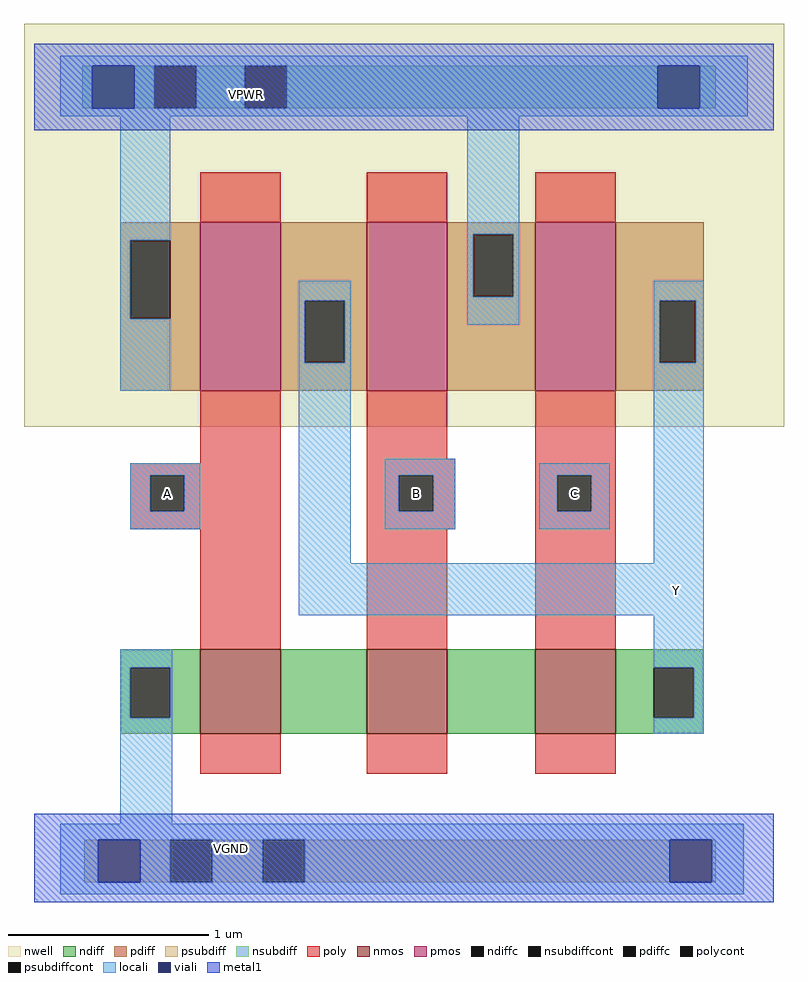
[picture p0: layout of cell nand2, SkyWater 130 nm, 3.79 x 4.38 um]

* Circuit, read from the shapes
.subckt nand2 A VPWR VGND B C Y
XM1 n1 A VGND VGND sky130_fd_pr__nfet_01v8 w=0.42 l=0.4
XM2 n2 B n1 VGND sky130_fd_pr__nfet_01v8 w=0.42 l=0.4
XM3 Y C n2 VGND sky130_fd_pr__nfet_01v8 w=0.42 l=0.4
XM4 Y A VPWR VPWR sky130_fd_pr__pfet_01v8 w=0.84 l=0.4
XM5 VPWR B Y VPWR sky130_fd_pr__pfet_01v8 w=0.84 l=0.4
XM6 Y C VPWR VPWR sky130_fd_pr__pfet_01v8 w=0.84 l=0.4
.ends

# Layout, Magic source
magic
tech sky130A
<< nwell >>
rect -88 -60 291 141
<< nmos >>
rect 0 -213 40 -171
rect 83 -213 123 -171
rect 167 -213 207 -171
<< pmos >>
rect 0 -42 40 42
rect 83 -42 123 42
rect 167 -42 207 42
<< ndiff >>
rect -40 -180 0 -171
rect -40 -205 -35 -180
rect -15 -205 0 -180
rect -40 -213 0 -205
rect 40 -213 83 -171
rect 123 -213 167 -171
rect 207 -180 251 -171
rect 207 -205 226 -180
rect 246 -205 251 -180
rect 207 -213 251 -205
<< pdiff >>
rect -40 33 0 42
rect -40 -6 -35 33
rect -15 -6 0 33
rect -40 -42 0 -6
rect 40 3 83 42
rect 40 -28 52 3
rect 72 -28 83 3
rect 40 -42 83 -28
rect 123 36 167 42
rect 123 5 136 36
rect 156 5 167 36
rect 123 -42 167 5
rect 207 3 251 42
rect 207 -28 229 3
rect 247 -28 251 3
rect 207 -42 251 -28
<< ndiffc >>
rect -35 -205 -15 -180
rect 226 -205 246 -180
<< pdiffc >>
rect -35 -6 -15 33
rect 52 -28 72 3
rect 136 5 156 36
rect 229 -28 247 3
<< psubdiff >>
rect -58 -287 -15 -266
rect 6 -287 31 -266
rect 52 -287 257 -266
<< nsubdiff >>
rect -59 99 -23 120
rect -2 99 22 120
rect 43 99 257 120
<< psubdiffcont >>
rect -15 -287 6 -266
rect 31 -287 52 -266
<< nsubdiffcont >>
rect -23 99 -2 120
rect 22 99 43 120
<< poly >>
rect 0 42 40 67
rect 83 42 123 67
rect 167 42 207 67
rect 0 -78 40 -42
rect -35 -84 40 -78
rect -35 -102 -25 -84
rect -8 -102 40 -84
rect -35 -111 40 -102
rect 0 -171 40 -111
rect 83 -76 123 -42
rect 83 -84 127 -76
rect 83 -102 99 -84
rect 116 -102 127 -84
rect 83 -111 127 -102
rect 167 -84 207 -42
rect 167 -102 178 -84
rect 195 -102 207 -84
rect 83 -171 123 -111
rect 167 -171 207 -102
rect 0 -233 40 -213
rect 83 -233 123 -213
rect 167 -233 207 -213
<< polycont >>
rect -25 -102 -8 -84
rect 99 -102 116 -84
rect 178 -102 195 -84
<< locali >>
rect -70 120 273 125
rect -70 99 -54 120
rect -33 99 -23 120
rect -2 99 22 120
rect 43 99 228 120
rect 249 99 273 120
rect -70 95 273 99
rect -40 33 -15 95
rect -40 -6 -35 33
rect 133 36 159 95
rect -40 -42 -15 -6
rect 49 3 75 13
rect 49 -28 52 3
rect 72 -28 75 3
rect 133 5 136 36
rect 156 5 159 36
rect 133 -9 159 5
rect 226 3 251 13
rect -35 -84 0 -78
rect -35 -102 -25 -84
rect -8 -102 0 -84
rect -35 -111 0 -102
rect 49 -128 75 -28
rect 226 -28 229 3
rect 247 -28 251 3
rect 92 -84 127 -76
rect 92 -102 99 -84
rect 116 -102 127 -84
rect 92 -111 127 -102
rect 169 -84 204 -78
rect 169 -102 178 -84
rect 195 -102 204 -84
rect 169 -111 204 -102
rect 226 -128 251 -28
rect 49 -154 251 -128
rect -40 -180 -14 -171
rect -40 -205 -35 -180
rect -15 -205 -14 -180
rect -40 -258 -14 -205
rect 226 -180 251 -154
rect 246 -205 251 -180
rect 226 -213 251 -205
rect -70 -266 271 -258
rect -70 -287 -51 -266
rect -30 -287 -15 -266
rect 6 -287 31 -266
rect 52 -287 234 -266
rect 255 -287 271 -266
rect -70 -293 271 -287
<< viali >>
rect -54 99 -33 120
rect 228 99 249 120
rect -51 -287 -30 -266
rect 234 -287 255 -266
<< metal1 >>
rect -83 120 286 131
rect -83 99 -54 120
rect -33 99 228 120
rect 249 99 286 120
rect -83 88 286 99
rect -83 -266 286 -253
rect -83 -287 -51 -266
rect -30 -287 234 -266
rect 255 -287 286 -266
rect -83 -297 286 -287
<< labels >>
flabel metal1 s -10 98 56 114 0 FreeSans 120 0 0 0 VPWR
port 5 nsew
flabel locali s -25 -102 -8 -84 0 FreeSans 120 0 0 0 A
port 1 nsew
flabel locali s 99 -102 116 -84 0 FreeSans 120 0 0 0 B
port 11 nsew
flabel locali s 178 -102 195 -84 0 FreeSans 120 0 0 0 C
port 13 nsew
flabel metal1 s -13 -278 44 -262 0 FreeSans 120 0 0 0 VGND
port 6 nsew
flabel locali s 226 -152 249 -131 0 FreeSans 120 0 0 0 Y
port 16 nsew
<< end >>
